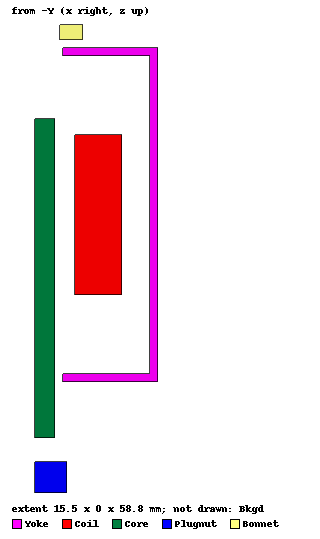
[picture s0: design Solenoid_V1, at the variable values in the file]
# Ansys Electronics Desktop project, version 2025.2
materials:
  vacuum: permittivity=1
  copper: permeability=0.999991 conductivity=58000000
  ColdRolledSteel: permeability{HUnit=A_per_meter BUnit=tesla curve (0, 0) (1080, 0.858) (1480, 1.06) (2090, 1.26) (3120, 1.44) (5160, 1.61) (9930, 1.77) (15500, 1.86) (25000, 1.88) (35000, 1.9)}

design Solenoid_V1 (Maxwell 2D, Magnetostatic, about Z geometry, model units mm)
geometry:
  Core [ColdRolledSteel] = rectangle(corner=(0mm, 0mm, -30mm), z_size=40mm, x_size=2.5mm)
  Coil [copper] = rectangle(corner=(5mm, 0mm, -10mm), z_size=20mm, x_size=6mm)
  Yoke [ColdRolledSteel] = polyline(y=0mm, xz in mm: (3.5, 21) (15.5, 21) (15.5, -21) (3.5, -21) (3.5, -20) (14.5, -20) (14.5, 20) (3.5, 20) (3.5, 21), closed, covered)
  Plugnut [ColdRolledSteel] = rectangle(corner=(0mm, 0mm, -31mm), z_size=-4mm, x_size=4mm)
  Bonnet [ColdRolledSteel] = rectangle(corner=(3.2mm, 0mm, 22mm), z_size=1.8mm, x_size=2.8mm)
  Core.move(0mm, 0mm, 2mm)
  Bkgd [vacuum] = rectangle(corner=(0mm, 0mm, 30mm), z_size=-70mm, x_size=20mm)
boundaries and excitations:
  Balloon1: Balloon Edges=Bkgd.edge(at (10, 0, 30), at (20, 0, -5), at (10, 0, -40))
  Current1: Current Objects=Coil Current=100A IsPositive=true
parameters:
  Force1: Force Reference_CS=Global Objects=Core
  Matrix1: Matrix Current1: NumberOfTurns=1
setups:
  Setup1: Magnetostatic MaximumPasses=10 MinimumPasses=2 MinimumConvergedPasses=1 PercentRefinement=30 PercentError=1 NonLinearResidual=0.0001
